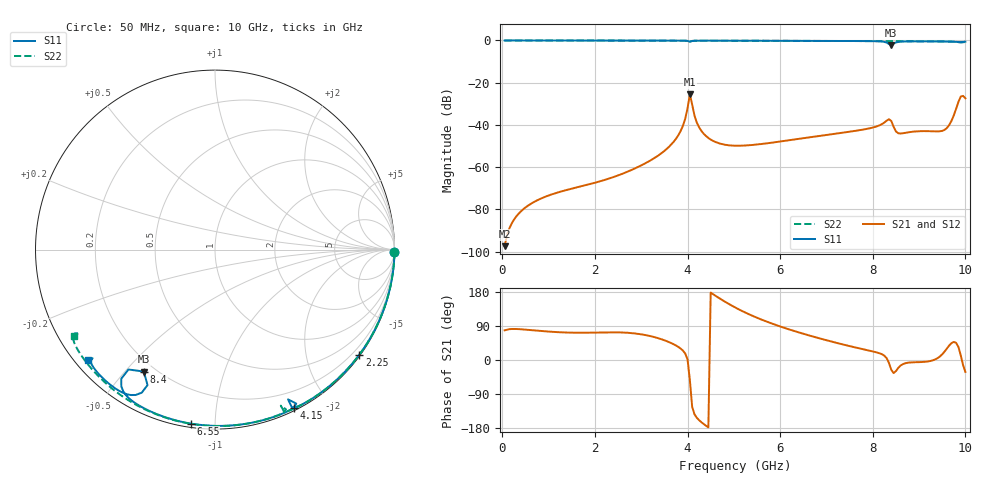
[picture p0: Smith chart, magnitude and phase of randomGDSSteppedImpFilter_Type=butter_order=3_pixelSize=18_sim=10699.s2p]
! freq	dB(S11)	phase(S11)	dB(S12)	phase(S12)
!  dB(S21)	phase(S21)	dB(S22)	phase(S22)
!S-par simulation data
#  GHz  S  DB  R 50
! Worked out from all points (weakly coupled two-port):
!   200 points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, 50 MHz to 10 GHz, reference 50 ohm
!   highest |S21| = -25.50 dB at 4.05 GHz (marker M1); lowest = -97.4 dB at 50 MHz (marker M2)
!   lowest |S11| = -2.1 dB at 8.4 GHz (marker M3), VSWR 8.37, Z = 7.91 - j28.2 ohm
!   |S11| at or under -10 dB: nowhere
!   |S22| runs from -0.9 to 0.0 dB; largest |S21 - S12| = 0
!   S11 on the Smith chart (normalised r, x): 50 MHz: open; 2.25 GHz: 0.03, -3.07; 4.15 GHz: 0.03, -1.61; 6.55 GHz: 0.02, -0.87; 8.4 GHz: 0.16, -0.56; 10 GHz: 0.04, -0.37
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0.05  -0.00 -0.8  -97.42 78.3  -97.42 78.3  -0.00 -0.9
0.45  -0.01 -7.4  -79.98 80.7  -79.98 80.7  -0.01 -7.8
1.75  -0.04 -28.2  -68.81 72.0  -68.81 72.0  -0.04 -29.7
2.25  -0.05 -36.1  -65.78 73.1  -65.78 73.1  -0.05 -38.0
3.4  -0.07 -53.7  -53.99 56.3  -53.99 56.3  -0.08 -56.6
3.85  -0.09 -60.8  -42.92 30.3  -42.92 30.3  -0.09 -63.8
3.95  -0.12 -62.7  -37.11 17.1  -37.11 17.1  -0.12 -65.7
4.05  -0.65 -64.0  -25.50 -52.8  -25.50 -52.8  -0.51 -67.1
4.15  -0.14 -63.6  -35.56 -143.2  -35.56 -143.2  -0.13 -67.3
4.25  -0.11 -65.5  -41.13 -158.9  -41.13 -158.9  -0.11 -69.2
4.45  -0.10 -68.7  -46.19 -177.9  -46.19 -177.9  -0.11 -72.4
5.05  -0.12 -77.4  -49.84 137.3  -49.84 137.3  -0.13 -81.4
6.55  -0.19 -98.0  -46.13 67.4  -46.13 67.4  -0.20 -102.9
6.7  -0.20 -100.0  -45.66 62.2  -45.66 62.2  -0.21 -105.0
8  -0.34 -118.4  -41.25 22.6  -41.25 22.6  -0.30 -122.8
8.35  -1.68 -125.8  -37.30 -7.9  -37.30 -7.9  -0.33 -127.6
8.4  -2.09 -120.3  -38.16 -25.9  -38.16 -25.9  -0.33 -128.3
8.55  -0.70 -118.6  -43.96 -20.9  -43.96 -20.9  -0.35 -130.3
9.5  -0.48 -134.4  -42.82 15.1  -42.82 15.1  -0.47 -143.7
9.7  -0.56 -137.2  -38.04 44.6  -38.04 44.6  -0.55 -146.9
9.9  -0.80 -138.4  -26.56 12.2  -26.56 12.2  -0.94 -148.7
10  -0.56 -139.0  -27.40 -31.5  -27.40 -31.5  -0.72 -148.5
